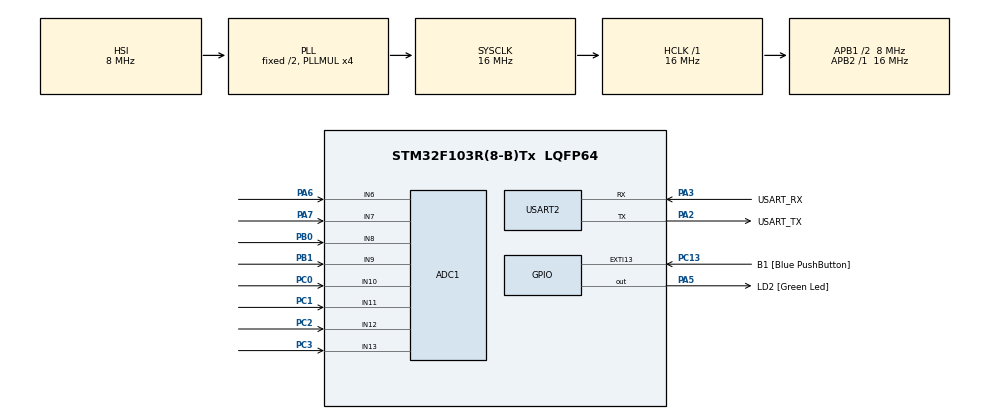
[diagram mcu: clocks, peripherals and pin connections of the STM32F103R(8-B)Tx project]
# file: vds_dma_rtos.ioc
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ADC1.Channel-11\#ChannelRegularConversion=ADC_CHANNEL_6
ADC1.Channel-12\#ChannelRegularConversion=ADC_CHANNEL_7
ADC1.Channel-13\#ChannelRegularConversion=ADC_CHANNEL_8
ADC1.Channel-14\#ChannelRegularConversion=ADC_CHANNEL_9
ADC1.Channel-15\#ChannelRegularConversion=ADC_CHANNEL_10
ADC1.Channel-16\#ChannelRegularConversion=ADC_CHANNEL_11
ADC1.Channel-17\#ChannelRegularConversion=ADC_CHANNEL_12
ADC1.Channel-18\#ChannelRegularConversion=ADC_CHANNEL_13
ADC1.ContinuousConvMode=ENABLE
ADC1.NbrOfConversion=8
ADC1.NbrOfConversionFlag=1
ADC1.Rank-11\#ChannelRegularConversion=1
ADC1.Rank-12\#ChannelRegularConversion=2
ADC1.Rank-13\#ChannelRegularConversion=3
ADC1.Rank-14\#ChannelRegularConversion=4
ADC1.Rank-15\#ChannelRegularConversion=5
ADC1.Rank-16\#ChannelRegularConversion=6
ADC1.Rank-17\#ChannelRegularConversion=7
ADC1.Rank-18\#ChannelRegularConversion=8
ADC1.SamplingTime-11\#ChannelRegularConversion=ADC_SAMPLETIME_1CYCLE_5
ADC1.SamplingTime-12\#ChannelRegularConversion=ADC_SAMPLETIME_1CYCLE_5
ADC1.SamplingTime-13\#ChannelRegularConversion=ADC_SAMPLETIME_1CYCLE_5
ADC1.SamplingTime-14\#ChannelRegularConversion=ADC_SAMPLETIME_1CYCLE_5
ADC1.SamplingTime-15\#ChannelRegularConversion=ADC_SAMPLETIME_1CYCLE_5
ADC1.SamplingTime-16\#ChannelRegularConversion=ADC_SAMPLETIME_1CYCLE_5
ADC1.SamplingTime-17\#ChannelRegularConversion=ADC_SAMPLETIME_1CYCLE_5
ADC1.SamplingTime-18\#ChannelRegularConversion=ADC_SAMPLETIME_1CYCLE_5
ADC1.master=1
Dma.ADC1.0.Direction=DMA_PERIPH_TO_MEMORY
Dma.ADC1.0.Instance=DMA1_Channel1
Dma.ADC1.0.MemDataAlignment=DMA_MDATAALIGN_HALFWORD
Dma.ADC1.0.MemInc=DMA_MINC_ENABLE
Dma.ADC1.0.Mode=DMA_CIRCULAR
Dma.ADC1.0.PeriphDataAlignment=DMA_PDATAALIGN_HALFWORD
Dma.ADC1.0.PeriphInc=DMA_PINC_DISABLE
Dma.ADC1.0.Priority=DMA_PRIORITY_LOW
Dma.Request0=ADC1
FREERTOS.Tasks01=defaultTask,24,128,getSensorData,Default,NULL,Dynamic,NULL,NULL;task2,24,128,validateData,Default,NULL,Dynamic,NULL,NULL
Mcu.Family=STM32F1
Mcu.Name=STM32F103R(8-B)Tx
Mcu.Package=LQFP64
NVIC.DMA1_Channel1_IRQn=true\:5\:0\:false\:false\:true\:true\:false\:true\:true
NVIC.EXTI15_10_IRQn=true\:5\:0\:false\:false\:true\:true\:true\:true\:true
NVIC.PriorityGroup=NVIC_PRIORITYGROUP_4
NVIC.TIM4_IRQn=true\:15\:0\:false\:false\:true\:false\:false\:true\:true
NVIC.TimeBase=TIM4_IRQn
NVIC.TimeBaseIP=TIM4
PA13.GPIO_Label=TMS
PA13.Mode=Serial_Wire
PA13.Signal=SYS_JTMS-SWDIO
PA14.GPIO_Label=TCK
PA14.Mode=Serial_Wire
PA14.Signal=SYS_JTCK-SWCLK
PA2.GPIO_Label=USART_TX
PA2.GPIO_Mode=GPIO_MODE_AF_PP
PA2.GPIO_PuPd=GPIO_NOPULL
PA2.GPIO_Speed=GPIO_SPEED_FREQ_LOW
PA2.Mode=Asynchronous
PA2.Signal=USART2_TX
PA3.GPIO_Label=USART_RX
PA3.GPIO_Mode=GPIO_MODE_AF_PP
PA3.GPIO_PuPd=GPIO_NOPULL
PA3.GPIO_Speed=GPIO_SPEED_FREQ_LOW
PA3.Mode=Asynchronous
PA3.Signal=USART2_RX
PA5.GPIO_Label=LD2 [Green Led]
PA5.GPIO_ModeDefaultOutputPP=GPIO_MODE_OUTPUT_PP
PA5.GPIO_PuPd=GPIO_NOPULL
PA5.GPIO_Speed=GPIO_SPEED_FREQ_LOW
PA5.Signal=GPIO_Output
PA6.Signal=ADCx_IN6
PA7.Signal=ADCx_IN7
PB0.Signal=ADCx_IN8
PB1.Signal=ADCx_IN9
PB3.GPIO_Label=SWO
PB3.Signal=SYS_JTDO-TRACESWO
PC0.Signal=ADCx_IN10
PC1.Signal=ADCx_IN11
PC13-TAMPER-RTC.GPIO_Label=B1 [Blue PushButton]
PC13-TAMPER-RTC.GPIO_PuPd=GPIO_NOPULL
PC13-TAMPER-RTC.Signal=GPXTI13
PC14-OSC32_IN.Mode=LSE-External-Oscillator
PC14-OSC32_IN.Signal=RCC_OSC32_IN
PC15-OSC32_OUT.Mode=LSE-External-Oscillator
PC15-OSC32_OUT.Signal=RCC_OSC32_OUT
PC2.Signal=ADCx_IN12
PC3.Signal=ADCx_IN13
PD0-OSC_IN.Mode=HSE-External-Clock-Source
PD0-OSC_IN.Signal=RCC_OSC_IN
PD1-OSC_OUT.Mode=HSE-External-Clock-Source
PD1-OSC_OUT.Signal=RCC_OSC_OUT
ProjectManager.HeapSize=0x200
ProjectManager.StackSize=0x400
ProjectManager.TargetToolchain=STM32CubeIDE
RCC.AHBFreq_Value=16000000
RCC.APB1CLKDivider=RCC_HCLK_DIV2
RCC.APB1Freq_Value=8000000
RCC.APB1TimFreq_Value=16000000
RCC.APB2Freq_Value=16000000
RCC.APB2TimFreq_Value=16000000
RCC.HCLKFreq_Value=16000000
RCC.PLLMUL=RCC_PLL_MUL4
RCC.RTCClockSelection=RCC_RTCCLKSOURCE_LSE
RCC.SYSCLKFreq_VALUE=16000000
RCC.SYSCLKSource=RCC_SYSCLKSOURCE_PLLCLK
RCC.USBFreq_Value=16000000
SH.ADCx_IN10.0=ADC1_IN10,IN10
SH.ADCx_IN11.0=ADC1_IN11,IN11
SH.ADCx_IN12.0=ADC1_IN12,IN12
SH.ADCx_IN13.0=ADC1_IN13,IN13
SH.ADCx_IN6.0=ADC1_IN6,IN6
SH.ADCx_IN7.0=ADC1_IN7,IN7
SH.ADCx_IN8.0=ADC1_IN8,IN8
SH.ADCx_IN9.0=ADC1_IN9,IN9
USART2.VirtualMode=VM_ASYNC
VP_FREERTOS_VS_CMSIS_V2.Mode=CMSIS_V2
VP_SYS_VS_tim4.Mode=TIM4
board=NUCLEO-F103RB

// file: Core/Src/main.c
/* USER CODE BEGIN Header */
/**
  ******************************************************************************
  * @file           : main.c
  * @brief          : Main program body
  ******************************************************************************
  * @attention
  *
  * Copyright (c) 2024 STMicroelectronics.
  * All rights reserved.
  *
  * This software is licensed under terms that can be found in the LICENSE file
  * in the root directory of this software component.
  * If no LICENSE file comes with this software, it is provided AS-IS.
  *
  ******************************************************************************
  */
/* USER CODE END Header */
#include "main.h"
#include "cmsis_os.h"

/* USER CODE BEGIN Includes */
#include "stdio.h"
#include "stdint.h"

/* USER CODE END Includes */

ADC_HandleTypeDef hadc1;
DMA_HandleTypeDef hdma_adc1;

UART_HandleTypeDef huart2;

/* Definitions for defaultTask */
osThreadId_t defaultTaskHandle;
const osThreadAttr_t defaultTask_attributes = {
  .name = "defaultTask",
  .stack_size = 128 * 4,
  .priority = (osPriority_t) osPriorityNormal,
};
/* Definitions for task2 */
osThreadId_t task2Handle;
const osThreadAttr_t task2_attributes = {
  .name = "task2",
  .stack_size = 128 * 4,
  .priority = (osPriority_t) osPriorityNormal,
};
/* USER CODE BEGIN PV */
volatile uint32_t adcResults[16]; //Buffer to store data from 8 sensors
const int adcChannels = 16; //number of adc channels being used
volatile int adcConversionCompleted = 0; //flag set when dma conversion is completed

/* USER CODE END PV */

void SystemClock_Config(void);
static void MX_GPIO_Init(void);
static void MX_DMA_Init(void);
static void MX_USART2_UART_Init(void);
static void MX_ADC1_Init(void);
void getSensorData(void *argument);
void validateData(void *argument);

/* USER CODE BEGIN PFP */
#ifdef __GNUC__
#define PUTCHAR_PROTOTYPE int __io_putchar(int ch)
#else
#define PUTCHAR_PROTOTYPE int fputc(int ch, FILE *f)
#endif
PUTCHAR_PROTOTYPE
{
  HAL_UART_Transmit(&huart2, (uint8_t *)&ch, 1, HAL_MAX_DELAY);
  return ch;
}
/* USER CODE END PFP */

int main(void)
{

  /* MCU Configuration--------------------------------------------------------*/

  /* Reset of all peripherals, Initializes the Flash interface and the Systick. */
  HAL_Init();

  /* Configure the system clock */
  SystemClock_Config();

  /* Initialize all configured peripherals */
  MX_GPIO_Init();
  MX_DMA_Init();
  MX_USART2_UART_Init();
  MX_ADC1_Init();

  /* Init scheduler */
  osKernelInitialize();

  /* Create the thread(s) */
  /* creation of defaultTask */
  defaultTaskHandle = osThreadNew(getSensorData, NULL, &defaultTask_attributes);

  /* creation of task2 */
  task2Handle = osThreadNew(validateData, NULL, &task2_attributes);

  /* Start scheduler */
  osKernelStart();

  /* We should never get here as control is now taken by the scheduler */
  /* Infinite loop */
  while (1)
  {

    /* USER CODE BEGIN 3 */
	  HAL_ADC_Start_DMA(&hadc1,(uint32_t *)adcResults,adcChannels);
//
//	  while(adcConversionCompleted == 0){
//			  //Code to run during DMA
//	  }
//
//	  adcConversionCompleted = 0;
//	  HAL_GPIO_TogglePin(LD2_GPIO_Port, LD2_Pin); //Toggle light when transfer is completed
//	  HAL_Delay(1000);
  }
  /* USER CODE END 3 */
}

void SystemClock_Config(void)
{
  RCC_OscInitTypeDef RCC_OscInitStruct = {0};
  RCC_ClkInitTypeDef RCC_ClkInitStruct = {0};
  RCC_PeriphCLKInitTypeDef PeriphClkInit = {0};

  /** Initializes the RCC Oscillators according to the specified parameters
  * in the RCC_OscInitTypeDef structure.
  */
  RCC_OscInitStruct.OscillatorType = RCC_OSCILLATORTYPE_HSI;
  RCC_OscInitStruct.HSIState = RCC_HSI_ON;
  RCC_OscInitStruct.HSICalibrationValue = RCC_HSICALIBRATION_DEFAULT;
  RCC_OscInitStruct.PLL.PLLState = RCC_PLL_ON;
  RCC_OscInitStruct.PLL.PLLSource = RCC_PLLSOURCE_HSI_DIV2;
  RCC_OscInitStruct.PLL.PLLMUL = RCC_PLL_MUL4;
  if (HAL_RCC_OscConfig(&RCC_OscInitStruct) != HAL_OK)
  {
    Error_Handler();
  }

  /** Initializes the CPU, AHB and APB buses clocks
  */
  RCC_ClkInitStruct.ClockType = RCC_CLOCKTYPE_HCLK|RCC_CLOCKTYPE_SYSCLK
                              |RCC_CLOCKTYPE_PCLK1|RCC_CLOCKTYPE_PCLK2;
  RCC_ClkInitStruct.SYSCLKSource = RCC_SYSCLKSOURCE_PLLCLK;
  RCC_ClkInitStruct.AHBCLKDivider = RCC_SYSCLK_DIV1;
  RCC_ClkInitStruct.APB1CLKDivider = RCC_HCLK_DIV2;
  RCC_ClkInitStruct.APB2CLKDivider = RCC_HCLK_DIV1;

  if (HAL_RCC_ClockConfig(&RCC_ClkInitStruct, FLASH_LATENCY_0) != HAL_OK)
  {
    Error_Handler();
  }
  PeriphClkInit.PeriphClockSelection = RCC_PERIPHCLK_ADC;
  PeriphClkInit.AdcClockSelection = RCC_ADCPCLK2_DIV2;
  if (HAL_RCCEx_PeriphCLKConfig(&PeriphClkInit) != HAL_OK)
  {
    Error_Handler();
  }
}

static void MX_ADC1_Init(void)
{

  ADC_ChannelConfTypeDef sConfig = {0};

  /** Common config
  */
  hadc1.Instance = ADC1;
  hadc1.Init.ScanConvMode = ADC_SCAN_ENABLE;
  hadc1.Init.ContinuousConvMode = ENABLE;
  hadc1.Init.DiscontinuousConvMode = DISABLE;
  hadc1.Init.ExternalTrigConv = ADC_SOFTWARE_START;
  hadc1.Init.DataAlign = ADC_DATAALIGN_RIGHT;
  hadc1.Init.NbrOfConversion = 8;
  if (HAL_ADC_Init(&hadc1) != HAL_OK)
  {
    Error_Handler();
  }

  /** Configure Regular Channel
  */
  sConfig.Channel = ADC_CHANNEL_6;
  sConfig.Rank = ADC_REGULAR_RANK_1;
  sConfig.SamplingTime = ADC_SAMPLETIME_1CYCLE_5;
  if (HAL_ADC_ConfigChannel(&hadc1, &sConfig) != HAL_OK)
  {
    Error_Handler();
  }

  /** Configure Regular Channel
  */
  sConfig.Channel = ADC_CHANNEL_7;
  sConfig.Rank = ADC_REGULAR_RANK_2;
  if (HAL_ADC_ConfigChannel(&hadc1, &sConfig) != HAL_OK)
  {
    Error_Handler();
  }

  /** Configure Regular Channel
  */
  sConfig.Channel = ADC_CHANNEL_8;
  sConfig.Rank = ADC_REGULAR_RANK_3;
  if (HAL_ADC_ConfigChannel(&hadc1, &sConfig) != HAL_OK)
  {
    Error_Handler();
  }

  /** Configure Regular Channel
  */
  sConfig.Channel = ADC_CHANNEL_9;
  sConfig.Rank = ADC_REGULAR_RANK_4;
  if (HAL_ADC_ConfigChannel(&hadc1, &sConfig) != HAL_OK)
  {
    Error_Handler();
  }

  /** Configure Regular Channel
  */
  sConfig.Channel = ADC_CHANNEL_10;
  sConfig.Rank = ADC_REGULAR_RANK_5;
  if (HAL_ADC_ConfigChannel(&hadc1, &sConfig) != HAL_OK)
  {
    Error_Handler();
  }

  /** Configure Regular Channel
  */
  sConfig.Channel = ADC_CHANNEL_11;
  sConfig.Rank = ADC_REGULAR_RANK_6;
  if (HAL_ADC_ConfigChannel(&hadc1, &sConfig) != HAL_OK)
  {
    Error_Handler();
  }

  /** Configure Regular Channel
  */
  sConfig.Channel = ADC_CHANNEL_12;
  sConfig.Rank = ADC_REGULAR_RANK_7;
  if (HAL_ADC_ConfigChannel(&hadc1, &sConfig) != HAL_OK)
  {
    Error_Handler();
  }

  /** Configure Regular Channel
  */
  sConfig.Channel = ADC_CHANNEL_13;
  sConfig.Rank = ADC_REGULAR_RANK_8;
  if (HAL_ADC_ConfigChannel(&hadc1, &sConfig) != HAL_OK)
  {
    Error_Handler();
  }

}

static void MX_USART2_UART_Init(void)
{

  huart2.Instance = USART2;
  huart2.Init.BaudRate = 115200;
  huart2.Init.WordLength = UART_WORDLENGTH_8B;
  huart2.Init.StopBits = UART_STOPBITS_1;
  huart2.Init.Parity = UART_PARITY_NONE;
  huart2.Init.Mode = UART_MODE_TX_RX;
  huart2.Init.HwFlowCtl = UART_HWCONTROL_NONE;
  huart2.Init.OverSampling = UART_OVERSAMPLING_16;
  if (HAL_UART_Init(&huart2) != HAL_OK)
  {
    Error_Handler();
  }

}

static void MX_DMA_Init(void)
{

  /* DMA controller clock enable */
  __HAL_RCC_DMA1_CLK_ENABLE();

  /* DMA interrupt init */
  /* DMA1_Channel1_IRQn interrupt configuration */
  HAL_NVIC_SetPriority(DMA1_Channel1_IRQn, 5, 0);
  HAL_NVIC_EnableIRQ(DMA1_Channel1_IRQn);

}

static void MX_GPIO_Init(void)
{
  GPIO_InitTypeDef GPIO_InitStruct = {0};

  /* GPIO Ports Clock Enable */
  __HAL_RCC_GPIOC_CLK_ENABLE();
  __HAL_RCC_GPIOD_CLK_ENABLE();
  __HAL_RCC_GPIOA_CLK_ENABLE();
  __HAL_RCC_GPIOB_CLK_ENABLE();

  /*Configure GPIO pin Output Level */
  HAL_GPIO_WritePin(LD2_GPIO_Port, LD2_Pin, GPIO_PIN_RESET);

  /*Configure GPIO pin : B1_Pin */
  GPIO_InitStruct.Pin = B1_Pin;
  GPIO_InitStruct.Mode = GPIO_MODE_IT_RISING;
  GPIO_InitStruct.Pull = GPIO_NOPULL;
  HAL_GPIO_Init(B1_GPIO_Port, &GPIO_InitStruct);

  /*Configure GPIO pin : LD2_Pin */
  GPIO_InitStruct.Pin = LD2_Pin;
  GPIO_InitStruct.Mode = GPIO_MODE_OUTPUT_PP;
  GPIO_InitStruct.Pull = GPIO_NOPULL;
  GPIO_InitStruct.Speed = GPIO_SPEED_FREQ_LOW;
  HAL_GPIO_Init(LD2_GPIO_Port, &GPIO_InitStruct);

  /* EXTI interrupt init*/
  HAL_NVIC_SetPriority(EXTI15_10_IRQn, 5, 0);
  HAL_NVIC_EnableIRQ(EXTI15_10_IRQn);

}

/* USER CODE BEGIN 4 */
void HAL_ADC_ConvCpltCallback(ADC_HandleTypeDef* hadc)
{
  /* Prevent unused argument(s) compilation warning */
  UNUSED(hadc);
  adcConversionCompleted = 1; //set this flag when DMA is completed

  /* NOTE : This function should not be modified. When the callback is needed,
            function HAL_ADC_ConvCpltCallback must be implemented in the user file.
   */
}
/* USER CODE END 4 */

void getSensorData(void *argument)
{
  /* USER CODE BEGIN 5 */
  /* Infinite loop */
  for(;;)
  {
	   	  HAL_ADC_Start_DMA(&hadc1,(uint32_t *)adcResults,adcChannels);

		  while(adcConversionCompleted == 0){
			  //Code to run during DMA
		  }

		  adcConversionCompleted = 0;
		  HAL_GPIO_TogglePin(LD2_GPIO_Port, LD2_Pin); //Toggle light when transfer is completed
		  printf("Sensor Data: SUCCESS \r\n");
		  HAL_Delay(100);
		  osDelay(100);
  }
  /* USER CODE END 5 */
}

void validateData(void *argument)
{
  /* USER CODE BEGIN validateData */
  /* Infinite loop */
  for(;;)
  {
	printf("Validation of sensor data completed \r\n");
	HAL_Delay(1000);
    osDelay(1000);
  }
  /* USER CODE END validateData */
}

void HAL_TIM_PeriodElapsedCallback(TIM_HandleTypeDef *htim)
{
  if (htim->Instance == TIM4) {
    HAL_IncTick();
  }
}

void Error_Handler(void)
{
  __disable_irq();
  while (1)
  {
  }
}
